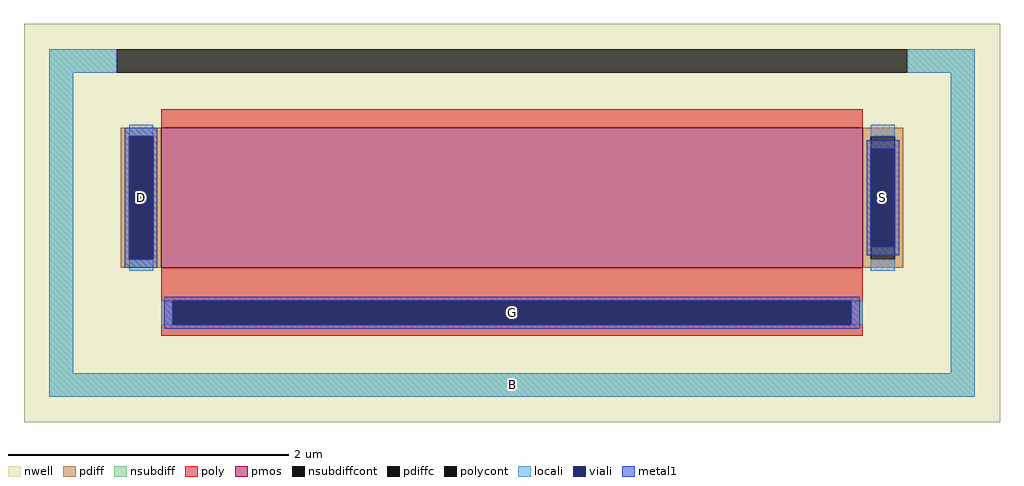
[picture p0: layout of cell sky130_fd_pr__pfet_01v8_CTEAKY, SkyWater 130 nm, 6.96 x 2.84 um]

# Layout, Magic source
magic
tech sky130A
magscale 1 2
<< nwell >>
rect -696 -284 696 284
<< pmos >>
rect -500 -64 500 136
<< pdiff >>
rect -558 124 -500 136
rect -558 -52 -546 124
rect -512 -52 -500 124
rect -558 -64 -500 -52
rect 500 124 558 136
rect 500 -52 512 124
rect 546 -52 558 124
rect 500 -64 558 -52
<< pdiffc >>
rect -546 -52 -512 124
rect 512 -52 546 124
<< nsubdiff >>
rect -660 214 -564 248
rect 564 214 660 248
rect -660 -214 -626 214
rect 626 -214 660 214
rect -660 -248 660 -214
<< nsubdiffcont >>
rect -564 214 564 248
<< poly >>
rect -500 136 500 162
rect -500 -111 500 -64
rect -500 -145 -484 -111
rect 484 -145 500 -111
rect -500 -161 500 -145
<< polycont >>
rect -484 -145 484 -111
<< locali >>
rect -660 214 -564 248
rect 564 214 660 248
rect -660 -214 -626 214
rect -546 124 -512 140
rect -546 -68 -512 -52
rect 512 124 546 140
rect 512 -68 546 -52
rect -500 -145 -484 -111
rect 484 -145 500 -111
rect 626 -214 660 214
rect -660 -248 660 -214
<< viali >>
rect -546 -52 -512 124
rect 512 -34 546 106
rect -484 -145 484 -111
<< metal1 >>
rect -552 124 -506 136
rect -552 -52 -546 124
rect -512 -52 -506 124
rect 506 106 552 118
rect 506 -34 512 106
rect 546 -34 552 106
rect 506 -46 552 -34
rect -552 -64 -506 -52
rect -496 -111 496 -105
rect -496 -145 -484 -111
rect 484 -145 496 -111
rect -496 -151 496 -145
<< labels >>
rlabel nsubdiff 0 -231 0 -231 0 B
port 1 nsew
rlabel pdiffc -529 36 -529 36 0 D
port 2 nsew
rlabel pdiffc 529 36 529 36 0 S
port 3 nsew
rlabel polycont 0 -128 0 -128 0 G
port 4 nsew
<< properties >>
string FIXED_BBOX -643 -231 643 231
string gencell sky130_fd_pr__pfet_01v8
string library sky130
string parameters w 1 l 5 m 1 nf 1 diffcov 100 polycov 100 guard 1 glc 0 grc 0 gtc 1 gbc 0 tbcov 100 rlcov 100 topc 0 botc 1 poverlap 0 doverlap 1 lmin 0.15 wmin 0.42 class mosfet compatible {sky130_fd_pr__pfet_01v8  sky130_fd_pr__pfet_01v8_lvt sky130_fd_pr__pfet_01v8_hvt  sky130_fd_pr__pfet_g5v0d10v5} full_metal 1 viasrc 80 viadrn 100 viagate 100 viagb 0 viagr 0 viagl 0 viagt 0 doports 1
<< end >>
